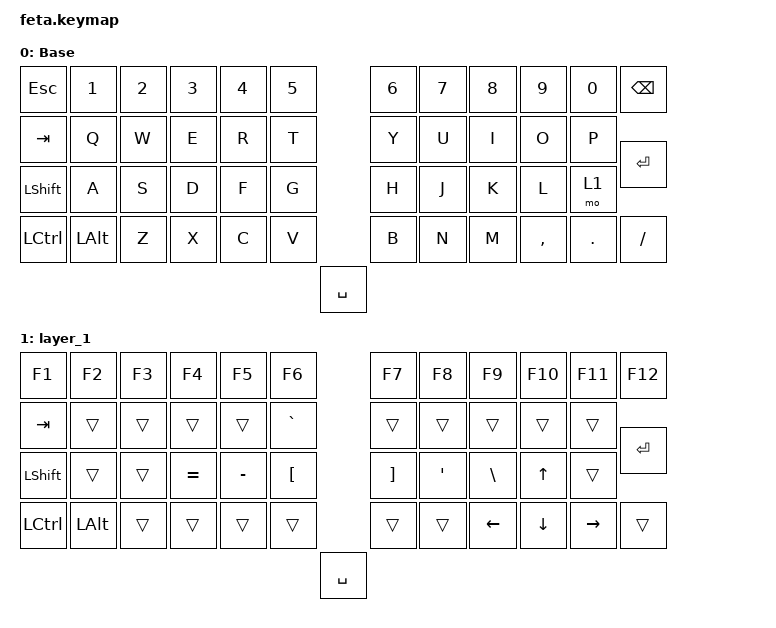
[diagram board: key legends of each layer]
#include <behaviors.dtsi>
#include <dt-bindings/zmk/keys.h>

/ {
    keymap {
        compatible = "zmk,keymap";

        default_layer {
            display-name = "Base";
            bindings = <
&kp ESC     &kp N1    &kp N2  &kp N3  &kp N4  &kp N5             &kp N6  &kp N7  &kp N8  &kp N9     &kp N0   &kp BSPC
&kp TAB     &kp Q     &kp W   &kp E   &kp R   &kp T              &kp Y   &kp U   &kp I   &kp O      &kp P    &kp ENTER
&kp LSHIFT  &kp A     &kp S   &kp D   &kp F   &kp G              &kp H   &kp J   &kp K   &kp L      &mo 1
&kp LCTRL   &kp LALT  &kp Z   &kp X   &kp C   &kp V              &kp B   &kp N   &kp M   &kp COMMA  &kp DOT  &kp FSLH
                                                      &kp SPACE
            >;
        };

        layer_1 {
            bindings = <
&kp F1            &kp F2        &kp F3  &kp F4     &kp F5     &kp F6                &kp F7    &kp F8    &kp F9         &kp F10       &kp F11    &kp F12
&kp TAB           &trans        &trans  &trans     &trans     &kp GRAVE             &trans    &trans    &trans         &trans        &trans     &kp ENTER
&kp LEFT_SHIFT    &trans        &trans  &kp EQUAL  &kp MINUS  &kp LBKT              &kp RBKT  &kp APOS  &kp BACKSLASH  &kp UP_ARROW  &trans
&kp LEFT_CONTROL  &kp LEFT_ALT  &trans  &trans     &trans     &trans                &trans    &trans    &kp LEFT       &kp DOWN      &kp RIGHT  &trans
                                                                         &kp SPACE
            >;
        };
    };
};

//        |esc| 1!| 2@| 3#| 4$| 5%|   | 6^| 7&| 8*| 9(| 0)|bac|
//        |tab| q | w | e | r | t |   | y | u | i | o | p |ent|
//        |ift| a | s | d | f | g |   | h | j | k | l |MoL|-er|
//        |con|alt| z | x | c | v |   | b | n | m |,< |.> |/? |
//                            |   space   |
//                        lower layer (Mol)
//      |f1 |f2 |f3 |f4 |f5 |f6 |      |f7 |f8 |f9 |f10|f11|f12|
//      |   |   |   |   |   | grave~|      | ;:|   |   |   |   |   |
//      |   |   |   | =+| -_| {[|      | ]}| '"| \|| ^ | X |   |
//      |   |   |   |   |   |   |      |   |   | < | v | > |   |
//                            |   space   |
